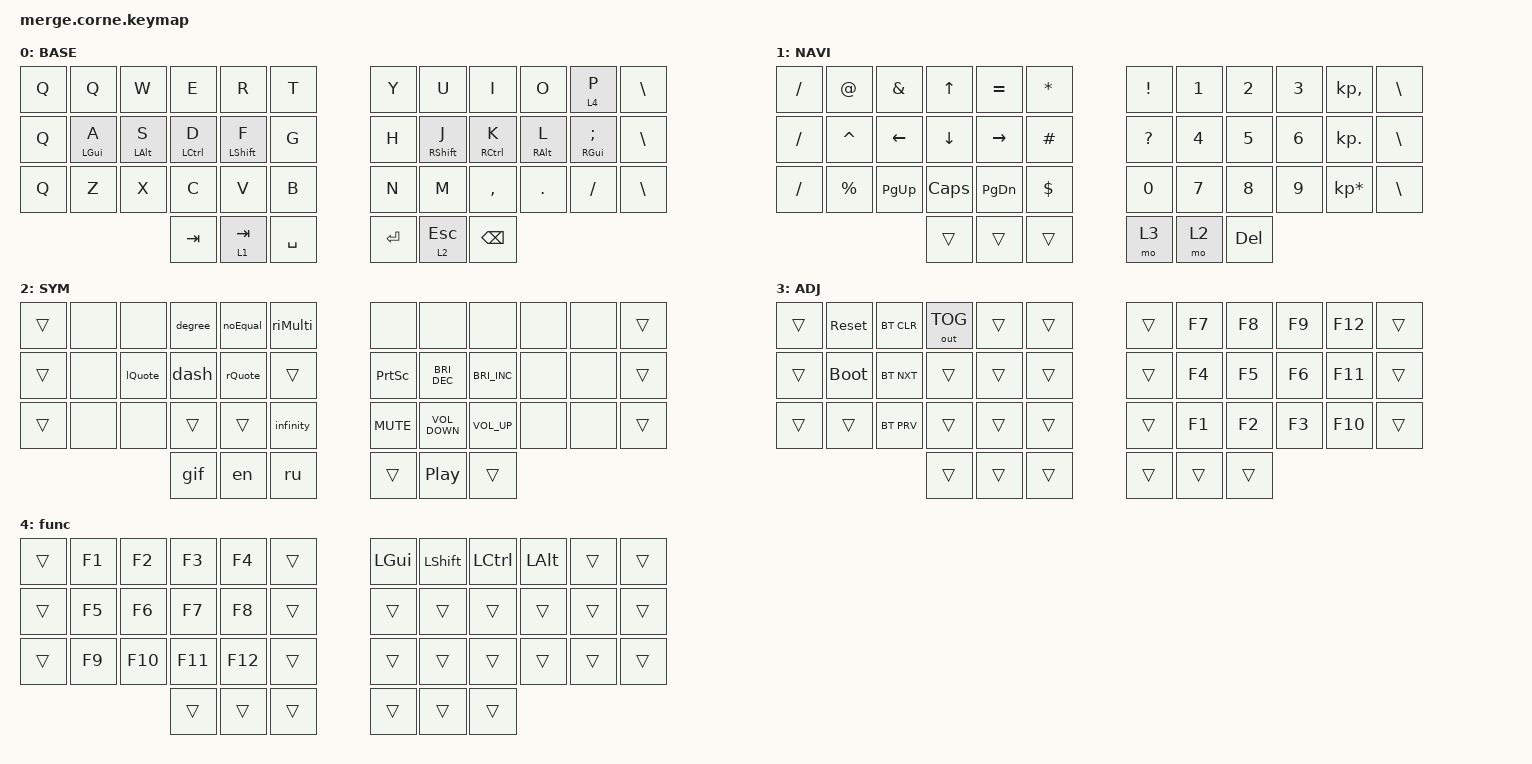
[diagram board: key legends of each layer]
//
//                                                        ▀▀▀▀▀     ▀▀▀▀▀          ▀▀█▀▀
//                                                        ▄▀▀▀▄  ▄  ▄▀▀▀▄  ▄  ▄▀▀▀▄  █  ▄▀▀▀▄
//                                                        █   █  █  █   █  █  █   █  █  █   █
//                                                         ▀▀▀   █   ▀▀▀   █   ▀▀▀   ▀   ▀▀▀
//                                                               █      ▄▄▄█▄▄▄    █   █  
//                                                               ▀      █  █  █     █▄█
//                                                             ▀▀▀▀▀    █  █  █      ▀
//                                                                      ▀  ▀  ▀
//
// ▄▄▄▄▄▄▄▄▄▄▄▄▄▄▄▄▄▄▄▄▄▄▄▄▄▄▄▄▄▄▄▄▄▄▄▄▄▄▄▄▄▄▄▄▄▄▄▄▄▄▄▄▄▄▄▄▄▄▄▄▄▄▄▄▄▄▄▄▄▄▄▄▄▄▄▄▄▄▄▄▄▄▄▄▄▄▄▄▄▄▄▄▄▄▄▄▄▄▄▄▄▄▄▄▄▄▄▄▄▄▄▄▄▄▄▄▄▄▄▄▄▄▄▄▄▄▄▄▄▄▄▄▄▄▄▄▄▄▄▄▄▄▄▄▄▄▄▄▄

#include <behaviors.dtsi>
#include <dt-bindings/zmk/bt.h>
#include <dt-bindings/zmk/keys.h>
#include <dt-bindings/zmk/outputs.h>

#include <dt-bindings/zmk/rgb.h>
#include <dt-bindings/zmk/behaviors.h>

#define BASE 0
#define NAV  1
#define SYM  2
#define ADJ  3
#define TVP1 4

&mt {
    quick-tap-ms = <100>;
    global-quick-tap;
    flavor = "tap-preferred";
    tapping-term-ms = <170>;
};

/ {
    combos {
        compatible = "zmk,combos";

        combo_tvp {
            timeout-ms = <100>;
            key-positions = <11 12 13>;
            bindings = <&tog 0>;
        };

        ParaLeft {
            bindings = <&kp LEFT_PARENTHESIS>;
            key-positions = <2 3>;
            timeout-ms = <20>;
        };

        ParaRight {
            bindings = <&kp RIGHT_PARENTHESIS>;
            key-positions = <6 7>;
            timeout-ms = <20>;
        };

        BrakLeft {
            bindings = <&kp LEFT_BRACKET>;
            key-positions = <13 12>;
            timeout-ms = <20>;
        };

        BrakRight {
            bindings = <&kp RIGHT_BRACKET>;
            key-positions = <16 17>;
            timeout-ms = <20>;
        };

        BraceLeft {
            bindings = <&kp LEFT_BRACE>;
            key-positions = <24 23>;
            timeout-ms = <20>;
        };

        BraceRight {
            bindings = <&kp RIGHT_BRACE>;
            key-positions = <27 28>;
            timeout-ms = <20>;
        };

        DoubleQuote {
            bindings = <&kp DOUBLE_QUOTES>;
            key-positions = <12 11>;
            timeout-ms = <20>;
        };

        SingleQuote {
            bindings = <&kp APOSTROPHE>;
            key-positions = <18 17>;
            timeout-ms = <20>;
        };

        TildaSign {
            bindings = <&kp TILDE>;
            key-positions = <18 19>;
            timeout-ms = <20>;
        };

        GraveSign {
            bindings = <&kp GRAVE>;
            key-positions = <10 11>;
            timeout-ms = <20>;
        };

        MinusSign {
            bindings = <&kp MINUS>;
            key-positions = <2 1>;
            timeout-ms = <20>;
        };

        PlusSign {
            bindings = <&kp PLUS>;
            key-positions = <1 0>;
            timeout-ms = <20>;
        };

        UnderscoreSign {
            bindings = <&kp UNDERSCORE>;
            key-positions = <8 7>;
            timeout-ms = <20>;
        };

        PipeSign {
            bindings = <&kp PIPE>;
            key-positions = <8 9>;
            timeout-ms = <20>;
        };

        LessThan {
            bindings = <&kp LESS_THAN>;
            key-positions = <22 23>;
        };

        GreatThan {
            bindings = <&kp GREATER_THAN>;
            key-positions = <28 29>;
        };
    };

    macros {
        dash: dash {
            compatible = "zmk,behavior-macro";
            #binding-cells = <0>;
            bindings =
                <&en>,
                <&macro_tap>,
                <&kp LC(LS(U)) &kp N2 &kp N0 &kp N1 &kp N4 &kp ENTER &ru>;

            label = "DASH";
        };

        ru: ru {
            compatible = "zmk,behavior-macro";
            #binding-cells = <0>;
            bindings = <&kp LG(LC(F6))>;
            label = "RU";
        };

        en: en {
            compatible = "zmk,behavior-macro";
            #binding-cells = <0>;
            bindings = <&kp LC(LG(F5))>;
            label = "EN";
        };

        rQuote: rQuote {
            compatible = "zmk,behavior-macro";
            #binding-cells = <0>;
            bindings =
                <&en>,
                <&macro_tap>,
                <&kp LC(LS(U)) &kp N0 &kp N0 &kp B &kp B &kp ENTER &ru>;

            label = "RQUOTE";
        };

        lQuote: lQuote {
            compatible = "zmk,behavior-macro";
            #binding-cells = <0>;
            bindings =
                <&en>,
                <&macro_tap>,
                <&kp LC(LS(U)) &kp N0 &kp N0 &kp A &kp B &kp ENTER &ru>;

            label = "LQUOTE";
        };

        riMulti: riMulti {
            compatible = "zmk,behavior-macro";
            #binding-cells = <0>;
            bindings =
                <&en>,
                <&macro_tap>,
                <&kp LC(LS(U)) &kp N0 &kp N0 &kp D &kp N7 &kp ENTER &ru>;

            label = "RIMULTI";
        };

        plus_minus: plus_minus {
            compatible = "zmk,behavior-macro";
            #binding-cells = <0>;
            bindings =
                <&en>,
                <&macro_tap>,
                <&kp LC(LS(U)) &kp N0 &kp N0 &kp B &kp N1 &kp RET &ru>;

            label = "PLUS_MINUS";
        };

        degree: degree {
            compatible = "zmk,behavior-macro";
            #binding-cells = <0>;
            bindings =
                <&en>,
                <&macro_tap>,
                <&kp LC(LS(U)) &kp N0 &kp N0 &kp B &kp N0 &kp RET &ru>;

            label = "DEGREE";
        };

        noEqual: noEqual {
            compatible = "zmk,behavior-macro";
            #binding-cells = <0>;
            bindings =
                <&en>,
                <&macro_tap>,
                <&kp LC(LS(U)) &kp N2 &kp N2 &kp N6 &kp N0 &kp RET &ru>;

            label = "NOEQUAL";
        };

        infinity: infinity {
            compatible = "zmk,behavior-macro";
            #binding-cells = <0>;
            bindings =
                <&en>,
                <&macro_tap>,
                <&kp LC(LS(U)) &kp N2 &kp N2 &kp N1 &kp E &kp RET &ru>;

            label = "INFINITY";
        };
    };

    keymap {
        compatible = "zmk,keymap";

        // ▄▄▄▄▄▄▄▄▄▄▄▄▄▄▄▄▄▄▄▄▄▄▄▄▄▄▄▄▄▄▄▄▄▄▄▄▄▄▄▄▄▄▄▄▄▄▄▄▄▄▄▄▄▄▄▄▄▄▄▄▄▄▄▄▄▄▄▄▄▄▄▄▄▄▄▄▄▄▄▄▄▄▄▄▄▄▄▄▄▄▄▄▄▄▄▄▄▄▄▄▄▄▄▄▄▄▄▄▄▄▄▄▄▄▄▄▄▄▄▄▄▄▄▄▄▄▄▄▄▄▄▄▄▄▄▄▄▄▄▄▄▄▄▄▄▄▄▄▄

        base_layer {
            // ┏━━━━━━━━━━━━━━━━━━━━━━━━━━━━━━━━━━━━━━━┓

            label = "BASE";

            // ┗━━━━━━━━━━━━━━━━━━━━━━━━━━━━━━━━━━━━━━━┛
            //             ┏━━━━━━━━━━━┳━━━━━━━━━━━┳━━━━━━━━━━━┳━━━━━━━━━━━┳━━━━━━━━━━━┓   ┏━━━━━━━━━━━┳━━━━━━━━━━━┳━━━━━━━━━━━┳━━━━━━━━━━━┳━━━━━━━━━━━┓
            //             ┃     Q     ┃     W     ┃     F     ┃     P     ┃     G     ┃   ┃     J     ┃     L     ┃     U     ┃     Y     ┃     ;     ┃
            //             ┣━━━━━━━━━━━╋━━━━━━━━━━━╋━━━━━━━━━━━╋━━━━━━━━━━━╋━━━━━━━━━━━┫   ┣━━━━━━━━━━━╋━━━━━━━━━━━╋━━━━━━━━━━━╋━━━━━━━━━━━╋━━━━━━━━━━━┫
            //             ┃     A     ┃     R     ┃     S     ┃     T     ┃     D     ┃   ┃     H     ┃     N     ┃     E     ┃     I     ┃     O     ┃
            // ┏━━━━━━━━━━━╋━━━━━━━━━━━╋━━━━━━━━━━━╋━━━━━━━━━━━╋━━━━━━━━━━━╋━━━━━━━━━━━┫   ┣━━━━━━━━━━━╋━━━━━━━━━━━╋━━━━━━━━━━━╋━━━━━━━━━━━╋━━━━━━━━━━━╋━━━━━━━━━━━┓
            // ┃     Q     ┃     Z     ┃     X     ┃     C     ┃     V     ┃     B     ┃   ┃     K     ┃     M     ┃     ,     ┃     .     ┃     /     ┃     \     ┃
            // ┗━━━━━━━━━━━┻━━━━━━━━━━━┻━━━━━━━━━━━╋━━━━━━━━━━━╋━━━━━━━━━━━╋━━━━━━━━━━━┫   ┣━━━━━━━━━━━╋━━━━━━━━━━━╋━━━━━━━━━━━╋━━━━━━━━━━━┻━━━━━━━━━━━┻━━━━━━━━━━━┛
            //                                     ┃    DEL    ┃    TAB    ┃    SPC    ┃   ┃   ENTER   ┃    ESC    ┃   BSPC    ┃
            //                                     ┗━━━━━━━━━━━┻━━━━━━━━━━━┻━━━━━━━━━━━┛   ┗━━━━━━━━━━━┻━━━━━━━━━━━┻━━━━━━━━━━━┛

            bindings = <
&kp Q      &kp Q       &kp W       &kp E        &kp R        &kp T        &kp Y    &kp U        &kp I        &kp O       &lt 4 P        &kp BSLH
&kp Q      &mt LGUI A  &mt LALT S  &mt LCTRL D  &mt LSHFT F  &kp G        &kp H    &mt RSHFT J  &mt RCTRL K  &mt RALT L  &mt RGUI SEMI  &kp BSLH
&kp Q      &kp Z       &kp X       &kp C        &kp V        &kp B        &kp N    &kp M        &kp COMMA    &kp DOT     &kp FSLH       &kp BSLH
                               &kp TAB      &lt 1 TAB    &kp SPACE    &kp RET  &lt 2 ESC    &kp BSPC
            >;
        };

        // ▄▄▄▄▄▄▄▄▄▄▄▄▄▄▄▄▄▄▄▄▄▄▄▄▄▄▄▄▄▄▄▄▄▄▄▄▄▄▄▄▄▄▄▄▄▄▄▄▄▄▄▄▄▄▄▄▄▄▄▄▄▄▄▄▄▄▄▄▄▄▄▄▄▄▄▄▄▄▄▄▄▄▄▄▄▄▄▄▄▄▄▄▄▄▄▄▄▄▄▄▄▄▄▄▄▄▄▄▄▄▄▄▄▄▄▄▄▄▄▄▄▄▄▄▄▄▄▄▄▄▄▄▄▄▄▄▄▄▄▄▄▄▄▄▄▄▄▄▄

        nav_layer {
            // ┏━━━━━━━━━━━━━━━━━━━━━━━━━━━━━━━━━━━━━━━┓

            label = "NAVI";

            // ┗━━━━━━━━━━━━━━━━━━━━━━━━━━━━━━━━━━━━━━━┛
            //             ┏━━━━━━━━━━━┳━━━━━━━━━━━┳━━━━━━━━━━━┳━━━━━━━━━━━┳━━━━━━━━━━━┓   ┏━━━━━━━━━━━┳━━━━━━━━━━━┳━━━━━━━━━━━┳━━━━━━━━━━━┳━━━━━━━━━━━┓
            //             ┃           ┃           ┃     UP    ┃           ┃     {     ┃   ┃     }     ┃     7     ┃     8     ┃     9     ┃     +     ┃
            //             ┣━━━━━━━━━━━╋━━━━━━━━━━━╋━━━━━━━━━━━╋━━━━━━━━━━━╋━━━━━━━━━━━┫   ┣━━━━━━━━━━━╋━━━━━━━━━━━╋━━━━━━━━━━━╋━━━━━━━━━━━╋━━━━━━━━━━━┫
            //             ┃   SHIFT   ┃   LEFT    ┃    DOWN   ┃   RIGHT   ┃     [     ┃   ┃     ]     ┃     4     ┃     5     ┃     6     ┃     -     ┃
            // ┏━━━━━━━━━━━╋━━━━━━━━━━━╋━━━━━━━━━━━╋━━━━━━━━━━━╋━━━━━━━━━━━╋━━━━━━━━━━━┫   ┣━━━━━━━━━━━╋━━━━━━━━━━━╋━━━━━━━━━━━╋━━━━━━━━━━━╋━━━━━━━━━━━╋━━━━━━━━━━━┓
            // ┃           ┃           ┃   P UP    ┃  C LOCK   ┃  P DOWN   ┃     (     ┃   ┃     )     ┃     1     ┃     2     ┃     3     ┃     *     ┃           ┃
            // ┗━━━━━━━━━━━┻━━━━━━━━━━━┻━━━━━━━━━━━╋━━━━━━━━━━━╋━━━━━━━━━━━╋━━━━━━━━━━━┫   ┣━━━━━━━━━━━╋━━━━━━━━━━━╋━━━━━━━━━━━╋━━━━━━━━━━━┻━━━━━━━━━━━┻━━━━━━━━━━━┛
            //                                     ┃           ┃    TAB    ┃    SPC    ┃   ┃    DEL    ┃     0     ┃           ┃
            //                                     ┗━━━━━━━━━━━┻━━━━━━━━━━━┻━━━━━━━━━━━┛   ┗━━━━━━━━━━━┻━━━━━━━━━━━┻━━━━━━━━━━━┛

            bindings = <
&kp SLASH          &kp AT       &kp AMPERSAND  &kp UP    &kp EQUAL  &kp ASTRK     &kp EXCL   &kp N1  &kp N2   &kp N3  &kp KP_COMMA     &kp BACKSLASH
&kp SLASH          &kp CARET    &kp LEFT       &kp DOWN  &kp RIGHT  &kp HASH      &kp QMARK  &kp N4  &kp N5   &kp N6  &kp KP_DOT       &kp BACKSLASH
&kp SLASH          &kp PERCENT  &kp PG_UP      &kp CAPS  &kp PG_DN  &kp DOLLAR    &kp N0     &kp N7  &kp N8   &kp N9  &kp KP_MULTIPLY  &kp BACKSLASH
                                       &trans    &trans     &trans        &mo 3      &mo 2   &kp DEL
            >;
        };

        // ▄▄▄▄▄▄▄▄▄▄▄▄▄▄▄▄▄▄▄▄▄▄▄▄▄▄▄▄▄▄▄▄▄▄▄▄▄▄▄▄▄▄▄▄▄▄▄▄▄▄▄▄▄▄▄▄▄▄▄▄▄▄▄▄▄▄▄▄▄▄▄▄▄▄▄▄▄▄▄▄▄▄▄▄▄▄▄▄▄▄▄▄▄▄▄▄▄▄▄▄▄▄▄▄▄▄▄▄▄▄▄▄▄▄▄▄▄▄▄▄▄▄▄▄▄▄▄▄▄▄▄▄▄▄▄▄▄▄▄▄▄▄▄▄▄▄▄▄▄

        sim_layer {
            // ┏━━━━━━━━━━━━━━━━━━━━━━━━━━━━━━━━━━━━━━━┓

            label = "SYM";

            // ┗━━━━━━━━━━━━━━━━━━━━━━━━━━━━━━━━━━━━━━━┛
            //             ┏━━━━━━━━━━━┳━━━━━━━━━━━┳━━━━━━━━━━━┳━━━━━━━━━━━┳━━━━━━━━━━━┓   ┏━━━━━━━━━━━┳━━━━━━━━━━━┳━━━━━━━━━━━┳━━━━━━━━━━━┳━━━━━━━━━━━┓
            //             ┃     !     ┃     @     ┃     #     ┃     $     ┃     %     ┃   ┃     ˆ     ┃     &     ┃     Ü     ┃     '     ┃     "     ┃
            //             ┣━━━━━━━━━━━╋━━━━━━━━━━━╋━━━━━━━━━━━╋━━━━━━━━━━━╋━━━━━━━━━━━┫   ┣━━━━━━━━━━━╋━━━━━━━━━━━╋━━━━━━━━━━━╋━━━━━━━━━━━╋━━━━━━━━━━━┫
            //             ┃     Ä     ┃           ┃    SZ     ┃           ┃           ┃   ┃   MUTE    ┃   YEN     ┃   EURO    ┃  POUND    ┃     Ö     ┃
            // ┏━━━━━━━━━━━╋━━━━━━━━━━━╋━━━━━━━━━━━╋━━━━━━━━━━━╋━━━━━━━━━━━╋━━━━━━━━━━━┫   ┣━━━━━━━━━━━╋━━━━━━━━━━━╋━━━━━━━━━━━╋━━━━━━━━━━━╋━━━━━━━━━━━╋━━━━━━━━━━━┓
            // ┃           ┃  EMAIL1   ┃  EMAIL2   ┃           ┃           ┃           ┃   ┃   VOL-    ┃   VOL+    ┃   LAST    ┃   NEXT    ┃     \     ┃           ┃
            // ┗━━━━━━━━━━━┻━━━━━━━━━━━┻━━━━━━━━━━━╋━━━━━━━━━━━╋━━━━━━━━━━━╋━━━━━━━━━━━┫   ┣━━━━━━━━━━━╋━━━━━━━━━━━╋━━━━━━━━━━━╋━━━━━━━━━━━┻━━━━━━━━━━━┻━━━━━━━━━━━┛
            //                                     ┃           ┃    GIF    ┃    ADJ    ┃   ┃           ┃           ┃           ┃
            //                                     ┗━━━━━━━━━━━┻━━━━━━━━━━━┻━━━━━━━━━━━┛   ┗━━━━━━━━━━━┻━━━━━━━━━━━┻━━━━━━━━━━━┛
            //           ---------------------------------------------.       .--------------------------------------------
            //           |    *   |    1   |    2   |    3   |    *   |       |    ?   |   @    |   ^    |   :    |       |
            //           +--------+--------+--------+--------+--------|       |--------+--------+--------+--------+--------
            //           |    /   |    4   |    5   |    6   |    =   |       |    !   |   %    |   &    |   ;    |        |
            // |---------+--------+--------+--------+--------+--------|       |--------+--------+--------+--------+--------+--------|
            // |   /     |    =   |    7   |    8   |    9   |    0   |       |    $   |   #    |   _    |   <    |    >   |    \   |
            // '---------------------------+--------+--------+--------+       |-------+---------+--------+--------------------------'
            //                             |        |   ADJ  |  **    |       |        |        |   DEL  |
            //                             '--------+--------+--------'       '--------+--------+--------'

            bindings = <
&trans       &none  &none    &degree  &noEqual  &riMulti     &none            &none                 &none                 &none  &none  &trans
&trans       &none  &lQuote  &dash    &rQuote   &trans       &kp PRINTSCREEN  &kp C_BRIGHTNESS_DEC  &kp C_BRIGHTNESS_INC  &none  &none  &trans
&trans       &none  &none    &trans   &trans    &infinity    &kp C_MUTE       &kp C_VOLUME_DOWN     &kp C_VOLUME_UP       &none  &none  &trans
                        &gif     &en       &ru          &trans           &kp C_PP              &trans
            >;
        };

        // ▄▄▄▄▄▄▄▄▄▄▄▄▄▄▄▄▄▄▄▄▄▄▄▄▄▄▄▄▄▄▄▄▄▄▄▄▄▄▄▄▄▄▄▄▄▄▄▄▄▄▄▄▄▄▄▄▄▄▄▄▄▄▄▄▄▄▄▄▄▄▄▄▄▄▄▄▄▄▄▄▄▄▄▄▄▄▄▄▄▄▄▄▄▄▄▄▄▄▄▄▄▄▄▄▄▄▄▄▄▄▄▄▄▄▄▄▄▄▄▄▄▄▄▄▄▄▄▄▄▄▄▄▄▄▄▄▄▄▄▄▄▄▄▄▄▄▄▄▄

        adjust_layer {
            // ┏━━━━━━━━━━━━━━━━━━━━━━━━━━━━━━━━━━━━━━━┓

            label = "ADJ";

            // ┗━━━━━━━━━━━━━━━━━━━━━━━━━━━━━━━━━━━━━━━┛
            //             ┏━━━━━━━━━━━┳━━━━━━━━━━━┳━━━━━━━━━━━┳━━━━━━━━━━━┳━━━━━━━━━━━┓   ┏━━━━━━━━━━━┳━━━━━━━━━━━┳━━━━━━━━━━━┳━━━━━━━━━━━┳━━━━━━━━━━━┓
            //             ┃   RESET   ┃ BT CLEAR  ┃  OUT TOG  ┃           ┃           ┃   ┃           ┃    F7     ┃    F8     ┃    F9     ┃    F12    ┃
            //             ┣━━━━━━━━━━━╋━━━━━━━━━━━╋━━━━━━━━━━━╋━━━━━━━━━━━╋━━━━━━━━━━━┫   ┣━━━━━━━━━━━╋━━━━━━━━━━━╋━━━━━━━━━━━╋━━━━━━━━━━━╋━━━━━━━━━━━┫
            //             ┃ BOOTLOAD  ┃ BT NEXT   ┃           ┃           ┃           ┃   ┃           ┃    F4     ┃    F5     ┃    F6     ┃    F11    ┃
            // ┏━━━━━━━━━━━╋━━━━━━━━━━━╋━━━━━━━━━━━╋━━━━━━━━━━━╋━━━━━━━━━━━╋━━━━━━━━━━━┫   ┣━━━━━━━━━━━╋━━━━━━━━━━━╋━━━━━━━━━━━╋━━━━━━━━━━━╋━━━━━━━━━━━╋━━━━━━━━━━━┓
            // ┃           ┃           ┃ BT PREV   ┃           ┃           ┃           ┃   ┃           ┃    F1     ┃    F2     ┃    F3     ┃    F10    ┃           ┃
            // ┗━━━━━━━━━━━┻━━━━━━━━━━━┻━━━━━━━━━━━╋━━━━━━━━━━━╋━━━━━━━━━━━╋━━━━━━━━━━━┫   ┣━━━━━━━━━━━╋━━━━━━━━━━━╋━━━━━━━━━━━╋━━━━━━━━━━━┻━━━━━━━━━━━┻━━━━━━━━━━━┛
            //                                     ┃           ┃           ┃           ┃   ┃           ┃           ┃           ┃
            //                                     ┗━━━━━━━━━━━┻━━━━━━━━━━━┻━━━━━━━━━━━┛   ┗━━━━━━━━━━━┻━━━━━━━━━━━┻━━━━━━━━━━━┛

//                        bindings = <
//   &sys_reset  &bootloader   &trans         &trans        &trans          &kp KP_NUM        &tog GAME     &trans        &trans        &trans        &trans        &trans
//   &trans      &bt BT_SEL 0  &bt BT_SEL 1  &bt BT_SEL 2  &bt BT_SEL 3    &bt BT_SEL 4      &bt BT_SEL 4  &bt BT_SEL 3  &bt BT_SEL 2  &bt BT_SEL 1  &bt BT_SEL 0  &studio_unlock
//   &bt BT_CLR  &trans        &trans        &trans        &trans          &trans            &trans        &trans        &trans        &trans        &trans        &trans
//                                           &trans        &trans          &trans            &trans        &trans        &trans
//                        >;
//                };


            bindings = <
&trans         &sys_reset   &bt BT_CLR  &out OUT_TOG  &trans  &trans    &trans  &kp F7  &kp F8  &kp F9  &kp F12 &trans
&trans         &bootloader  &bt BT_NXT  &trans        &trans  &trans    &trans  &kp F4  &kp F5  &kp F6  &kp F11 &trans
&trans         &trans       &bt BT_PRV  &trans        &trans  &trans    &trans  &kp F1  &kp F2  &kp F3  &kp F10  &trans
                                 &trans        &trans  &trans    &trans  &trans  &trans
            >;
        };

        // ▄▄▄▄▄▄▄▄▄▄▄▄▄▄▄▄▄▄▄▄▄▄▄▄▄▄▄▄▄▄▄▄▄▄▄▄▄▄▄▄▄▄▄▄▄▄▄▄▄▄▄▄▄▄▄▄▄▄▄▄▄▄▄▄▄▄▄▄▄▄▄▄▄▄▄▄▄▄▄▄▄▄▄▄▄▄▄▄▄▄▄▄▄▄▄▄▄▄▄▄▄▄▄▄▄▄▄▄▄▄▄▄▄▄▄▄▄▄▄▄▄▄▄▄▄▄▄▄▄▄▄▄▄▄▄▄▄▄▄▄▄▄▄▄▄▄▄▄▄
        // ▄▄▄▄▄▄▄▄▄▄▄▄▄▄▄▄▄▄▄▄▄▄▄▄▄▄▄▄▄▄▄▄▄▄▄▄▄▄▄▄▄▄▄▄▄▄▄▄▄▄▄▄▄▄▄▄▄▄▄▄▄▄▄▄▄▄▄▄▄▄▄▄▄▄▄▄▄▄▄▄▄▄▄▄▄▄▄▄▄▄▄▄▄▄▄▄▄▄▄▄▄▄▄▄▄▄▄▄▄▄▄▄▄▄▄▄▄▄▄▄▄▄▄▄▄▄▄▄▄▄▄▄▄▄▄▄▄▄▄▄▄▄▄▄▄▄▄▄▄

        func {
            bindings = <
&trans  &kp F1  &kp F2   &kp F3   &kp F4   &trans    &kp LGUI  &kp LEFT_SHIFT  &kp LCTRL  &kp LALT  &trans  &trans    
&trans  &kp F5  &kp F6   &kp F7   &kp F8   &trans    &trans    &trans          &trans     &trans    &trans  &trans    
&trans  &kp F9  &kp F10  &kp F11  &kp F12  &trans    &trans    &trans          &trans     &trans    &trans  &trans
                         &trans   &trans   &trans    &trans    &trans          &trans
            >;
        };

    };
};
